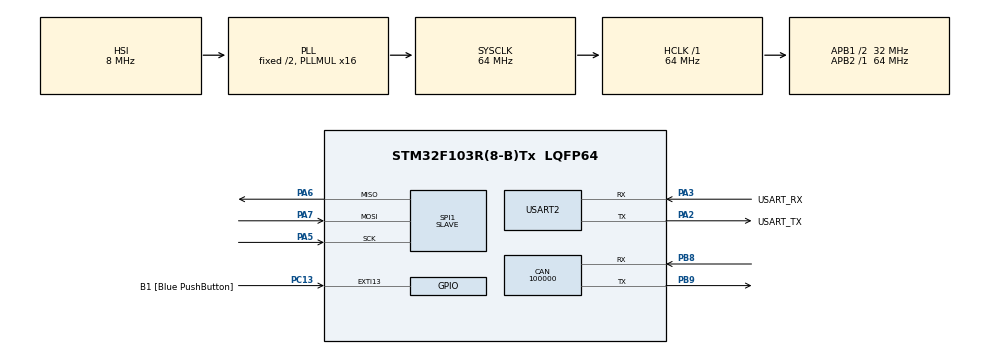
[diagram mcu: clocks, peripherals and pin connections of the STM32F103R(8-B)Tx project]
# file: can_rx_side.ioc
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CAN.BS1=CAN_BS1_14TQ
CAN.BS2=CAN_BS2_5TQ
CAN.CalculateBaudRate=100000
CAN.CalculateTimeBit=10000
CAN.CalculateTimeQuantum=500.0
Dma.Request0=SPI1_RX
Dma.Request1=SPI1_TX
Dma.SPI1_RX.0.Direction=DMA_PERIPH_TO_MEMORY
Dma.SPI1_RX.0.Instance=DMA1_Channel2
Dma.SPI1_RX.0.MemDataAlignment=DMA_MDATAALIGN_BYTE
Dma.SPI1_RX.0.MemInc=DMA_MINC_ENABLE
Dma.SPI1_RX.0.Mode=DMA_NORMAL
Dma.SPI1_RX.0.PeriphDataAlignment=DMA_PDATAALIGN_BYTE
Dma.SPI1_RX.0.PeriphInc=DMA_PINC_DISABLE
Dma.SPI1_RX.0.Priority=DMA_PRIORITY_LOW
Dma.SPI1_TX.1.Direction=DMA_MEMORY_TO_PERIPH
Dma.SPI1_TX.1.Instance=DMA1_Channel3
Dma.SPI1_TX.1.MemDataAlignment=DMA_MDATAALIGN_BYTE
Dma.SPI1_TX.1.MemInc=DMA_MINC_ENABLE
Dma.SPI1_TX.1.Mode=DMA_NORMAL
Dma.SPI1_TX.1.PeriphDataAlignment=DMA_PDATAALIGN_BYTE
Dma.SPI1_TX.1.PeriphInc=DMA_PINC_DISABLE
Dma.SPI1_TX.1.Priority=DMA_PRIORITY_LOW
Mcu.Family=STM32F1
Mcu.Name=STM32F103R(8-B)Tx
Mcu.Package=LQFP64
NVIC.DMA1_Channel2_IRQn=true\:0\:0\:false\:false\:true\:false\:true\:true
NVIC.DMA1_Channel3_IRQn=true\:0\:0\:false\:false\:true\:false\:true\:true
NVIC.EXTI15_10_IRQn=true\:0\:0\:false\:false\:true\:true\:true\:true
NVIC.PriorityGroup=NVIC_PRIORITYGROUP_4
NVIC.USB_LP_CAN1_RX0_IRQn=true\:1\:0\:true\:false\:true\:true\:true\:true
PA13.GPIO_Label=TMS
PA13.Mode=Serial_Wire
PA13.Signal=SYS_JTMS-SWDIO
PA14.GPIO_Label=TCK
PA14.Mode=Serial_Wire
PA14.Signal=SYS_JTCK-SWCLK
PA2.GPIO_Label=USART_TX
PA2.GPIO_Mode=GPIO_MODE_AF_PP
PA2.GPIO_PuPd=GPIO_NOPULL
PA2.GPIO_Speed=GPIO_SPEED_FREQ_LOW
PA2.Mode=Asynchronous
PA2.Signal=USART2_TX
PA3.GPIO_Label=USART_RX
PA3.GPIO_Mode=GPIO_MODE_AF_PP
PA3.GPIO_PuPd=GPIO_NOPULL
PA3.GPIO_Speed=GPIO_SPEED_FREQ_LOW
PA3.Mode=Asynchronous
PA3.Signal=USART2_RX
PA5.Mode=Full_Duplex_Slave
PA5.Signal=SPI1_SCK
PA6.Mode=Full_Duplex_Slave
PA6.Signal=SPI1_MISO
PA7.Mode=Full_Duplex_Slave
PA7.Signal=SPI1_MOSI
PB3.GPIO_Label=SWO
PB3.Signal=SYS_JTDO-TRACESWO
PB8.Mode=CAN_Activate
PB8.Signal=CAN_RX
PB9.Mode=CAN_Activate
PB9.Signal=CAN_TX
PC13-TAMPER-RTC.GPIO_Label=B1 [Blue PushButton]
PC13-TAMPER-RTC.GPIO_PuPd=GPIO_NOPULL
PC13-TAMPER-RTC.Signal=GPXTI13
PC14-OSC32_IN.Mode=LSE-External-Oscillator
PC14-OSC32_IN.Signal=RCC_OSC32_IN
PC15-OSC32_OUT.Mode=LSE-External-Oscillator
PC15-OSC32_OUT.Signal=RCC_OSC32_OUT
PD0-OSC_IN.Mode=HSE-External-Clock-Source
PD0-OSC_IN.Signal=RCC_OSC_IN
PD1-OSC_OUT.Mode=HSE-External-Clock-Source
PD1-OSC_OUT.Signal=RCC_OSC_OUT
ProjectManager.HeapSize=0x200
ProjectManager.StackSize=0x400
ProjectManager.TargetToolchain=STM32CubeIDE
RCC.AHBFreq_Value=64000000
RCC.APB1CLKDivider=RCC_HCLK_DIV2
RCC.APB1Freq_Value=32000000
RCC.APB1TimFreq_Value=64000000
RCC.APB2Freq_Value=64000000
RCC.APB2TimFreq_Value=64000000
RCC.HCLKFreq_Value=64000000
RCC.PLLMUL=RCC_PLL_MUL16
RCC.RTCClockSelection=RCC_RTCCLKSOURCE_LSE
RCC.SYSCLKFreq_VALUE=64000000
RCC.SYSCLKSource=RCC_SYSCLKSOURCE_PLLCLK
RCC.USBFreq_Value=64000000
SPI1.Direction=SPI_DIRECTION_2LINES
SPI1.Mode=SPI_MODE_SLAVE
SPI1.VirtualType=VM_SLAVE
USART2.VirtualMode=VM_ASYNC
board=NUCLEO-F103RB

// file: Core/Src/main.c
/* USER CODE BEGIN Header */
/**
  ******************************************************************************
  * @file           : main.c
  * @brief          : Main program body
  ******************************************************************************
  * @attention
  *
  * Copyright (c) 2023 STMicroelectronics.
  * All rights reserved.
  *
  * This software is licensed under terms that can be found in the LICENSE file
  * in the root directory of this software component.
  * If no LICENSE file comes with this software, it is provided AS-IS.
  *
  ******************************************************************************
  */
/* USER CODE END Header */
#include "main.h"

CAN_HandleTypeDef hcan;

SPI_HandleTypeDef hspi1;
DMA_HandleTypeDef hdma_spi1_rx;
DMA_HandleTypeDef hdma_spi1_tx;

UART_HandleTypeDef huart2;

void SystemClock_Config(void);
static void MX_GPIO_Init(void);
static void MX_DMA_Init(void);
static void MX_USART2_UART_Init(void);
static void MX_CAN_Init(void);
static void MX_SPI1_Init(void);

/* USER CODE BEGIN 0 */
CAN_FilterTypeDef canFilter1;
CAN_RxHeaderTypeDef canRxHeader;
CAN_TxHeaderTypeDef canTxHeader;
volatile uint8_t can1_rx0_flag = 0;
uint8_t can1Rx0Data;
int spiflag = 0;

int _write(int file, char *ptr, int len){
    HAL_UART_Transmit(&huart2, (uint8_t*)ptr, len, 100);
    return len;
}

void HAL_DMA_STATE_CHANGE(SPI_HandleTypeDef *hspi)
{
  hspi->State = HAL_SPI_STATE_READY;
}
/* USER CODE END 0 */

int main(void)
{

  /* MCU Configuration--------------------------------------------------------*/

  /* Reset of all peripherals, Initializes the Flash interface and the Systick. */
  HAL_Init();

  /* Configure the system clock */
  SystemClock_Config();

  /* Initialize all configured peripherals */
  MX_GPIO_Init();
  MX_DMA_Init();
  MX_USART2_UART_Init();
  MX_CAN_Init();
  MX_SPI1_Init();

  /* Infinite loop */
  /* USER CODE BEGIN WHILE */
  canFilter1.FilterMaskIdHigh = 0x7F3 << 5;
  canFilter1.FilterIdHigh = 0x106 << 5;

  canFilter1.FilterMaskIdLow = 0x7F3 << 5;
  canFilter1.FilterIdLow = 0x106 << 5;

  canFilter1.FilterMode = CAN_FILTERMODE_IDMASK;
  canFilter1.FilterScale = CAN_FILTERSCALE_16BIT;

  canFilter1.FilterFIFOAssignment = CAN_FILTER_FIFO0;
  canFilter1.FilterBank = 0;
  canFilter1.FilterActivation = CAN_FILTER_ENABLE;

  HAL_CAN_ConfigFilter(&hcan, &canFilter1);
  HAL_CAN_ActivateNotification(&hcan, CAN_IT_RX_FIFO0_MSG_PENDING);

  HAL_CAN_Start(&hcan);
  uint8_t str[20];
  while (1)
  {
      if(can1_rx0_flag == 1){
	can1_rx0_flag = 0;
	sprintf((char*)str, "Rx ID : 0x%3X", canRxHeader.StdId);
	printf("%s\r\n", str);
	sprintf((char*)str, "Rx Data : %d", can1Rx0Data);
	printf("%s\r\n", str);
	if(can1Rx0Data <= 0 || can1Rx0Data > 6) continue;
	HAL_SPI_Transmit_DMA(&hspi1, &can1Rx0Data, 1);
	if(spiflag == 1)
	  {
	    printf("send\r\n");
	    spiflag = 0;
	  }
      }
    /* USER CODE END WHILE */

  }
}

void SystemClock_Config(void)
{
  RCC_OscInitTypeDef RCC_OscInitStruct = {0};
  RCC_ClkInitTypeDef RCC_ClkInitStruct = {0};

  /** Initializes the RCC Oscillators according to the specified parameters
  * in the RCC_OscInitTypeDef structure.
  */
  RCC_OscInitStruct.OscillatorType = RCC_OSCILLATORTYPE_HSI;
  RCC_OscInitStruct.HSIState = RCC_HSI_ON;
  RCC_OscInitStruct.HSICalibrationValue = RCC_HSICALIBRATION_DEFAULT;
  RCC_OscInitStruct.PLL.PLLState = RCC_PLL_ON;
  RCC_OscInitStruct.PLL.PLLSource = RCC_PLLSOURCE_HSI_DIV2;
  RCC_OscInitStruct.PLL.PLLMUL = RCC_PLL_MUL16;
  if (HAL_RCC_OscConfig(&RCC_OscInitStruct) != HAL_OK)
  {
    Error_Handler();
  }

  /** Initializes the CPU, AHB and APB buses clocks
  */
  RCC_ClkInitStruct.ClockType = RCC_CLOCKTYPE_HCLK|RCC_CLOCKTYPE_SYSCLK
                              |RCC_CLOCKTYPE_PCLK1|RCC_CLOCKTYPE_PCLK2;
  RCC_ClkInitStruct.SYSCLKSource = RCC_SYSCLKSOURCE_PLLCLK;
  RCC_ClkInitStruct.AHBCLKDivider = RCC_SYSCLK_DIV1;
  RCC_ClkInitStruct.APB1CLKDivider = RCC_HCLK_DIV2;
  RCC_ClkInitStruct.APB2CLKDivider = RCC_HCLK_DIV1;

  if (HAL_RCC_ClockConfig(&RCC_ClkInitStruct, FLASH_LATENCY_2) != HAL_OK)
  {
    Error_Handler();
  }
}

static void MX_CAN_Init(void)
{

  hcan.Instance = CAN1;
  hcan.Init.Prescaler = 16;
  hcan.Init.Mode = CAN_MODE_NORMAL;
  hcan.Init.SyncJumpWidth = CAN_SJW_1TQ;
  hcan.Init.TimeSeg1 = CAN_BS1_14TQ;
  hcan.Init.TimeSeg2 = CAN_BS2_5TQ;
  hcan.Init.TimeTriggeredMode = DISABLE;
  hcan.Init.AutoBusOff = DISABLE;
  hcan.Init.AutoWakeUp = DISABLE;
  hcan.Init.AutoRetransmission = DISABLE;
  hcan.Init.ReceiveFifoLocked = DISABLE;
  hcan.Init.TransmitFifoPriority = DISABLE;
  if (HAL_CAN_Init(&hcan) != HAL_OK)
  {
    Error_Handler();
  }

}

static void MX_SPI1_Init(void)
{

  /* SPI1 parameter configuration*/
  hspi1.Instance = SPI1;
  hspi1.Init.Mode = SPI_MODE_SLAVE;
  hspi1.Init.Direction = SPI_DIRECTION_2LINES;
  hspi1.Init.DataSize = SPI_DATASIZE_8BIT;
  hspi1.Init.CLKPolarity = SPI_POLARITY_LOW;
  hspi1.Init.CLKPhase = SPI_PHASE_1EDGE;
  hspi1.Init.NSS = SPI_NSS_SOFT;
  hspi1.Init.FirstBit = SPI_FIRSTBIT_MSB;
  hspi1.Init.TIMode = SPI_TIMODE_DISABLE;
  hspi1.Init.CRCCalculation = SPI_CRCCALCULATION_DISABLE;
  hspi1.Init.CRCPolynomial = 10;
  if (HAL_SPI_Init(&hspi1) != HAL_OK)
  {
    Error_Handler();
  }

}

static void MX_USART2_UART_Init(void)
{

  huart2.Instance = USART2;
  huart2.Init.BaudRate = 115200;
  huart2.Init.WordLength = UART_WORDLENGTH_8B;
  huart2.Init.StopBits = UART_STOPBITS_1;
  huart2.Init.Parity = UART_PARITY_NONE;
  huart2.Init.Mode = UART_MODE_TX_RX;
  huart2.Init.HwFlowCtl = UART_HWCONTROL_NONE;
  huart2.Init.OverSampling = UART_OVERSAMPLING_16;
  if (HAL_UART_Init(&huart2) != HAL_OK)
  {
    Error_Handler();
  }

}

static void MX_DMA_Init(void)
{

  /* DMA controller clock enable */
  __HAL_RCC_DMA1_CLK_ENABLE();

  /* DMA interrupt init */
  /* DMA1_Channel2_IRQn interrupt configuration */
  HAL_NVIC_SetPriority(DMA1_Channel2_IRQn, 0, 0);
  HAL_NVIC_EnableIRQ(DMA1_Channel2_IRQn);
  /* DMA1_Channel3_IRQn interrupt configuration */
  HAL_NVIC_SetPriority(DMA1_Channel3_IRQn, 0, 0);
  HAL_NVIC_EnableIRQ(DMA1_Channel3_IRQn);

}

static void MX_GPIO_Init(void)
{
  GPIO_InitTypeDef GPIO_InitStruct = {0};

  /* GPIO Ports Clock Enable */
  __HAL_RCC_GPIOC_CLK_ENABLE();
  __HAL_RCC_GPIOD_CLK_ENABLE();
  __HAL_RCC_GPIOA_CLK_ENABLE();
  __HAL_RCC_GPIOB_CLK_ENABLE();

  /*Configure GPIO pin : B1_Pin */
  GPIO_InitStruct.Pin = B1_Pin;
  GPIO_InitStruct.Mode = GPIO_MODE_IT_RISING;
  GPIO_InitStruct.Pull = GPIO_NOPULL;
  HAL_GPIO_Init(B1_GPIO_Port, &GPIO_InitStruct);

  /* EXTI interrupt init*/
  HAL_NVIC_SetPriority(EXTI15_10_IRQn, 0, 0);
  HAL_NVIC_EnableIRQ(EXTI15_10_IRQn);

}

/* USER CODE BEGIN 4 */
void HAL_SPI_TxCpltCallback(SPI_HandleTypeDef *hspi)
{
  spiflag = 1;
  HAL_DMA_STATE_CHANGE(&hspi);
}
void HAL_CAN_RxFifo0MsgPendingCallback(CAN_HandleTypeDef *hcan)
{
  /* Prevent unused argument(s) compilation warning */
  // UNUSED(hcan);
  if (HAL_CAN_GetRxMessage(hcan, CAN_RX_FIFO0, &canRxHeader, &can1Rx0Data) != HAL_OK)
  {
      Error_Handler();
  }
  can1_rx0_flag = 1;
  printf("received\r\n");
  /* NOTE : This function Should not be modified, when the callback is needed,
            the HAL_CAN_RxFifo0MsgPendingCallback could be implemented in the
            user file
   */
}
/* USER CODE END 4 */

void Error_Handler(void)
{
  __disable_irq();
  while (1)
  {
  }
}
